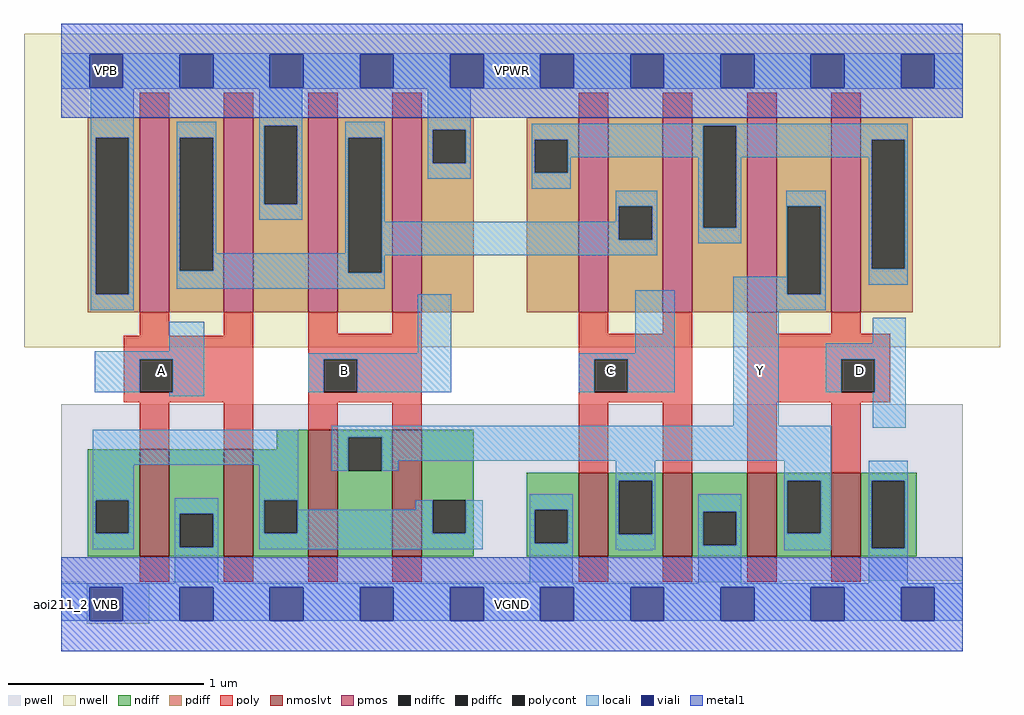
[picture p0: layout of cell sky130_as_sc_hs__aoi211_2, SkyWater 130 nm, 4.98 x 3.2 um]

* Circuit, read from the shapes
.subckt sky130_as_sc_hs__aoi211_2 VNB VPB VPWR VGND B C D Y A
XM1 VGND A n1 VNB sky130_fd_pr__nfet_01v8_lvt w=0.545 l=0.15 m=2
XM2 Y B n1 VNB sky130_fd_pr__nfet_01v8_lvt w=0.645 l=0.15 m=2
XM3 Y C VGND VNB sky130_fd_pr__nfet_01v8_lvt w=0.425 l=0.15 m=2
XM4 Y D VGND VNB sky130_fd_pr__nfet_01v8_lvt w=0.425 l=0.15 m=2
XM5 n2 A VPWR VPB sky130_fd_pr__pfet_01v8 w=0.99 l=0.15 m=2
XM6 n2 B VPWR VPB sky130_fd_pr__pfet_01v8 w=0.99 l=0.15 m=2
XM7 n2 C n3 VPB sky130_fd_pr__pfet_01v8 w=0.99 l=0.15 m=2
XM8 Y D n3 VPB sky130_fd_pr__pfet_01v8 w=0.99 l=0.15 m=2
.ends

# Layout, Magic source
magic
tech sky130A
magscale 1 2
<< nwell >>
rect -38 262 958 582
<< pwell >>
rect 0 24 920 204
rect 0 22 736 24
rect 26 -20 90 22
<< pmos >>
rect 80 298 110 496
rect 166 298 196 496
rect 252 298 282 496
rect 338 298 368 496
rect 528 298 558 496
rect 614 298 644 496
rect 700 298 730 496
rect 786 298 816 496
<< nmoslvt >>
rect 80 49 110 158
rect 166 49 196 158
rect 252 49 282 178
rect 338 49 368 178
rect 528 49 558 134
rect 614 49 644 134
rect 700 49 730 134
rect 786 49 816 134
<< ndiff >>
rect 220 158 252 178
rect 27 106 80 158
rect 27 72 35 106
rect 69 72 80 106
rect 27 49 80 72
rect 110 92 166 158
rect 110 58 121 92
rect 155 58 166 92
rect 110 49 166 58
rect 196 106 252 158
rect 196 72 207 106
rect 241 72 252 106
rect 196 49 252 72
rect 282 170 338 178
rect 282 136 293 170
rect 327 136 338 170
rect 282 49 338 136
rect 368 106 421 178
rect 368 72 379 106
rect 413 72 421 106
rect 368 49 421 72
rect 475 96 528 134
rect 475 62 483 96
rect 517 62 528 96
rect 475 49 528 62
rect 558 126 614 134
rect 558 71 569 126
rect 603 71 614 126
rect 558 49 614 71
rect 644 94 700 134
rect 644 60 655 94
rect 689 60 700 94
rect 644 49 700 60
rect 730 126 786 134
rect 730 72 741 126
rect 775 72 786 126
rect 730 49 786 72
rect 816 126 873 134
rect 816 57 827 126
rect 861 57 873 126
rect 816 49 873 57
<< pdiff >>
rect 27 476 80 496
rect 27 316 35 476
rect 69 316 80 476
rect 27 298 80 316
rect 110 476 166 496
rect 110 340 121 476
rect 155 340 166 476
rect 110 298 166 340
rect 196 488 252 496
rect 196 408 207 488
rect 241 408 252 488
rect 196 298 252 408
rect 282 476 338 496
rect 282 338 293 476
rect 327 338 338 476
rect 282 298 338 338
rect 368 484 421 496
rect 368 450 379 484
rect 413 450 421 484
rect 368 298 421 450
rect 475 474 528 496
rect 475 440 483 474
rect 517 440 528 474
rect 475 298 528 440
rect 558 406 614 496
rect 558 372 569 406
rect 603 372 614 406
rect 558 298 614 372
rect 644 488 700 496
rect 644 384 655 488
rect 689 384 700 488
rect 644 298 700 384
rect 730 406 786 496
rect 730 316 741 406
rect 775 316 786 406
rect 730 298 786 316
rect 816 474 869 496
rect 816 342 827 474
rect 861 342 869 474
rect 816 298 869 342
<< ndiffc >>
rect 35 72 69 106
rect 121 58 155 92
rect 207 72 241 106
rect 293 136 327 170
rect 379 72 413 106
rect 483 62 517 96
rect 569 71 603 126
rect 655 60 689 94
rect 741 72 775 126
rect 827 57 861 126
<< pdiffc >>
rect 35 316 69 476
rect 121 340 155 476
rect 207 408 241 488
rect 293 338 327 476
rect 379 450 413 484
rect 483 440 517 474
rect 569 372 603 406
rect 655 384 689 488
rect 741 316 775 406
rect 827 342 861 474
<< poly >>
rect 80 496 110 522
rect 166 496 196 522
rect 252 496 282 522
rect 338 496 368 522
rect 528 496 558 522
rect 614 496 644 522
rect 700 496 730 522
rect 786 496 816 522
rect 80 274 110 298
rect 166 274 196 298
rect 64 250 196 274
rect 64 216 80 250
rect 114 216 196 250
rect 64 206 196 216
rect 80 158 110 206
rect 166 158 196 206
rect 252 276 282 298
rect 338 276 368 298
rect 252 250 368 276
rect 252 216 268 250
rect 302 216 368 250
rect 252 206 368 216
rect 252 178 282 206
rect 338 178 368 206
rect 528 276 558 298
rect 614 276 644 298
rect 528 250 644 276
rect 528 216 544 250
rect 578 216 644 250
rect 528 206 644 216
rect 528 134 558 206
rect 614 134 644 206
rect 700 276 730 298
rect 786 276 816 298
rect 700 250 846 276
rect 700 216 796 250
rect 830 216 846 250
rect 700 206 846 216
rect 700 134 730 206
rect 786 134 816 206
rect 80 23 110 49
rect 166 23 196 49
rect 252 23 282 49
rect 338 23 368 49
rect 528 23 558 49
rect 614 23 644 49
rect 700 23 730 49
rect 786 23 816 49
<< polycont >>
rect 80 216 114 250
rect 268 216 302 250
rect 544 216 578 250
rect 796 216 830 250
<< locali >>
rect 0 561 920 562
rect 0 527 29 561
rect 63 527 121 561
rect 155 527 213 561
rect 247 527 305 561
rect 339 527 397 561
rect 431 527 489 561
rect 523 527 581 561
rect 615 527 673 561
rect 707 527 765 561
rect 799 527 857 561
rect 891 527 920 561
rect 0 526 920 527
rect 30 476 74 526
rect 30 316 35 476
rect 69 316 74 476
rect 118 476 158 492
rect 118 340 121 476
rect 155 358 158 476
rect 202 488 246 526
rect 202 408 207 488
rect 241 408 246 488
rect 202 392 246 408
rect 290 476 330 492
rect 290 358 293 476
rect 155 340 293 358
rect 118 338 293 340
rect 327 390 330 476
rect 374 484 418 526
rect 374 450 379 484
rect 413 450 418 484
rect 374 434 418 450
rect 480 488 864 490
rect 480 474 655 488
rect 480 440 483 474
rect 517 456 655 474
rect 517 440 520 456
rect 480 424 520 440
rect 566 406 608 422
rect 566 390 569 406
rect 327 372 569 390
rect 603 372 608 406
rect 327 356 608 372
rect 650 384 655 456
rect 689 474 864 488
rect 689 456 827 474
rect 689 384 694 456
rect 650 368 694 384
rect 740 406 780 422
rect 327 338 330 356
rect 118 322 330 338
rect 740 334 741 406
rect 30 300 74 316
rect 110 258 146 288
rect 34 250 146 258
rect 364 256 398 316
rect 586 256 626 320
rect 34 216 80 250
rect 114 216 146 250
rect 252 250 398 256
rect 252 216 268 250
rect 302 216 398 250
rect 528 250 626 256
rect 528 216 544 250
rect 578 216 626 250
rect 686 316 741 334
rect 775 316 780 406
rect 824 342 827 456
rect 861 342 864 474
rect 824 326 864 342
rect 686 300 780 316
rect 110 212 146 216
rect 686 182 732 300
rect 828 266 862 292
rect 780 250 862 266
rect 780 216 796 250
rect 830 216 862 250
rect 32 142 242 178
rect 32 106 74 142
rect 32 72 35 106
rect 69 72 74 106
rect 32 56 74 72
rect 116 92 160 108
rect 116 58 121 92
rect 155 58 160 92
rect 116 21 160 58
rect 202 106 242 142
rect 276 170 786 182
rect 828 180 862 216
rect 276 136 293 170
rect 327 146 786 170
rect 327 136 344 146
rect 566 126 606 146
rect 202 72 207 106
rect 241 96 242 106
rect 362 96 379 106
rect 241 72 379 96
rect 413 72 430 106
rect 202 56 430 72
rect 478 96 522 112
rect 478 62 483 96
rect 517 62 522 96
rect 478 21 522 62
rect 566 71 569 126
rect 603 71 606 126
rect 738 126 786 146
rect 566 56 606 71
rect 650 94 694 112
rect 650 60 655 94
rect 689 60 694 94
rect 569 55 603 56
rect 650 21 694 60
rect 738 72 741 126
rect 775 72 786 126
rect 738 55 786 72
rect 824 126 864 146
rect 824 57 827 126
rect 861 57 864 126
rect 824 21 864 57
rect 0 17 920 21
rect 0 -17 29 17
rect 63 -17 121 17
rect 155 -17 213 17
rect 247 -17 305 17
rect 339 -17 397 17
rect 431 -17 489 17
rect 523 -17 581 17
rect 615 -17 673 17
rect 707 -17 765 17
rect 799 -17 857 17
rect 891 -17 920 17
<< viali >>
rect 29 527 63 561
rect 121 527 155 561
rect 213 527 247 561
rect 305 527 339 561
rect 397 527 431 561
rect 489 527 523 561
rect 581 527 615 561
rect 673 527 707 561
rect 765 527 799 561
rect 857 527 891 561
rect 29 -17 63 17
rect 121 -17 155 17
rect 213 -17 247 17
rect 305 -17 339 17
rect 397 -17 431 17
rect 489 -17 523 17
rect 581 -17 615 17
rect 673 -17 707 17
rect 765 -17 799 17
rect 857 -17 891 17
<< metal1 >>
rect 0 561 920 592
rect 0 527 29 561
rect 63 527 121 561
rect 155 527 213 561
rect 247 527 305 561
rect 339 527 397 561
rect 431 527 489 561
rect 523 527 581 561
rect 615 527 673 561
rect 707 527 765 561
rect 799 527 857 561
rect 891 527 920 561
rect 0 496 920 527
rect 0 17 920 48
rect 0 -17 29 17
rect 63 -17 121 17
rect 155 -17 213 17
rect 247 -17 305 17
rect 339 -17 397 17
rect 431 -17 489 17
rect 523 -17 581 17
rect 615 -17 673 17
rect 707 -17 765 17
rect 799 -17 857 17
rect 891 -17 920 17
rect 0 -48 920 -17
<< labels >>
rlabel comment s 0 0 0 0 4 aoi211_2
flabel pwell s 29 -17 63 17 0 FreeSans 200 0 0 0 VNB
port 1 nsew ground bidirectional
flabel pwell s 46 0 46 0 0 FreeSans 200 0 0 0 VNB
flabel nwell s 29 527 63 561 0 FreeSans 200 0 0 0 VPB
port 2 nsew power bidirectional
flabel nwell s 46 544 46 544 0 FreeSans 200 0 0 0 VPB
flabel metal1 s 29 527 63 561 0 FreeSans 200 0 0 0 VPWR
port 3 nsew power bidirectional abutment
flabel metal1 s 29 -17 63 17 0 FreeSans 200 0 0 0 VGND
port 4 nsew ground bidirectional abutment
rlabel metal1 s 0 -48 920 48 1 VGND
port 4 nsew ground bidirectional abutment
rlabel metal1 s 0 496 920 592 1 VPWR
port 3 nsew power bidirectional abutment
flabel locali 85 221 119 255 0 FreeSans 200 0 0 0 A
port 9 nsew signal input
flabel locali 102 238 102 238 0 FreeSans 200 0 0 0 A
flabel locali 272 221 306 255 0 FreeSans 200 0 0 0 B
port 5 nsew signal input
flabel locali 289 238 289 238 0 FreeSans 200 0 0 0 B
flabel locali 544 221 578 255 0 FreeSans 200 0 0 0 C
port 6 nsew signal input
flabel locali 561 238 561 238 0 FreeSans 200 0 0 0 C
flabel locali 799 221 833 255 0 FreeSans 200 0 0 1 D
port 7 nsew signal input
flabel polycont 816 238 816 238 0 FreeSans 200 0 0 1 D
flabel locali 697 221 731 255 0 FreeSans 200 0 0 0 Y
port 8 nsew signal output
flabel locali 714 238 714 238 0 FreeSans 200 0 0 0 Y
<< properties >>
string FIXED_BBOX 0 0 920 544
string GDS_FILE $PDKPATH/libs.ref/sky130_as_sc_hs/gds/sky130_as_sc_hs__aoi211_2.gds
string LEFclass CORE
string LEFsite unithd
string LEFsymmetry X Y R90
string MASKHINTS_LVTN 0 -4 920 214
string MASKHINTS_NSDM 0 -38 920 204
string MASKHINTS_PSDM 0 272 920 582
<< end >>
